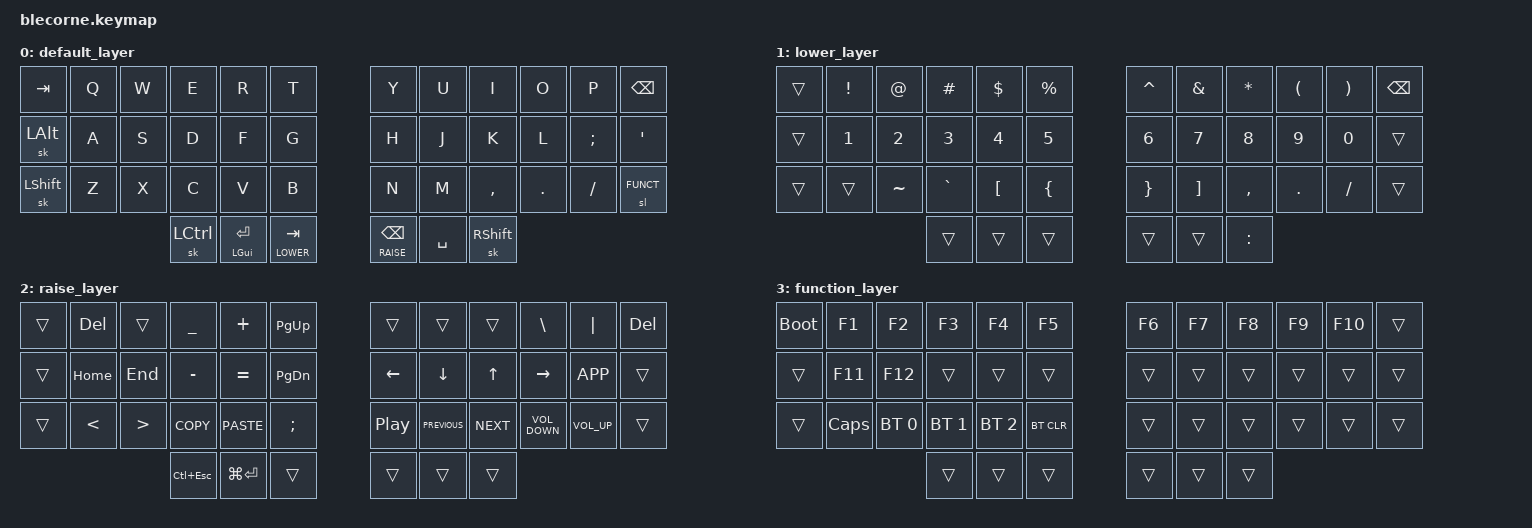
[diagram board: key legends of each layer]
/*
 * Copyright (c) 2020 The ZMK Contributors
 * SPDX-License-Identifier: MIT
 */

#include <behaviors.dtsi>
#include <dt-bindings/zmk/keys.h>
#include <dt-bindings/zmk/bt.h>

#define DEFAULT 0
#define LOWER   1
#define RAISE   2
#define FUNCT   3

/ {
    combos {
        compatible = "zmk,combos";
        combo_jk_esc {
            timeout-ms = <50>;
            key-positions = <19 20>;
            bindings = <&kp ESC>;
        };
    };
};

/ {
    behaviors {
        ft: fast_layer_tap {
            compatible = "zmk,behavior-hold-tap";
            #binding-cells = <2>;
            flavor = "hold-preferred";
            tapping-term-ms = <200>;
            bindings = <&mo>, <&kp>;
            display-name = "Fast Layer-Tap";
        };
    };
};

/ {
    chosen {
        zmk,physical-layout = &foostan_corne_6col_layout;
        // zmk,physical-layout = &foostan_corne_5col_layout;
    };
};

/ {
    keymap {
        compatible = "zmk,keymap";

        default_layer {
            bindings = <
                &kp TAB     &kp Q   &kp W   &kp E       &kp R           &kp T           &kp Y           &kp U       &kp I       &kp O   &kp P       &kp BSPC
                &sk LALT    &kp A   &kp S   &kp D       &kp F           &kp G           &kp H           &kp J       &kp K       &kp L   &kp SEMI    &kp SQT
                &sk LSHFT   &kp Z   &kp X   &kp C       &kp V           &kp B           &kp N           &kp M       &kp COMMA   &kp DOT &kp FSLH    &sl FUNCT
                                            &sk LCTRL   &mt LGUI ENTER  &ft LOWER TAB   &ft RAISE BSPC  &kp SPACE   &sk RSHFT
            >;
        };

        lower_layer {
            bindings = <
                &trans      &kp EXCL    &kp AT      &kp POUND   &kp DLLR    &kp PRCNT   &kp CARET   &kp AMPS    &kp STAR    &kp LPAR   &kp RPAR     &kp BSPC
                &trans      &kp N1      &kp N2      &kp N3      &kp N4      &kp N5      &kp N6      &kp N7      &kp N8      &kp N9     &kp N0       &trans
                &trans      &trans      &kp TILDE   &kp GRAVE   &kp LBKT    &kp LBRC    &kp RBRC    &kp RBKT    &kp COMMA   &kp DOT    &kp FSLH     &trans
                                                    &trans      &trans      &trans      &trans      &trans      &kp COLON
            >;
        };

        raise_layer {
            bindings = <
                &trans      &kp DEL     &trans      &kp UNDER   &kp PLUS    &kp PG_UP   &trans      &trans      &trans      &kp BSLH    &kp PIPE    &kp DEL
                &trans      &kp HOME    &kp END     &kp MINUS   &kp EQUAL   &kp PG_DN   &kp LEFT    &kp DOWN    &kp UP      &kp RIGHT   &kp K_APP   &trans
                &trans      &kp LT      &kp GT      &kp K_COPY  &kp K_PASTE &kp SEMI    &kp C_PLAY_PAUSE &kp C_PREVIOUS  &kp C_NEXT  &kp C_VOLUME_DOWN &kp C_VOLUME_UP &trans
                                                    &kp LC(ESC) &kp LG(RET) &trans      &trans      &trans      &trans
            >;
        };

        function_layer {
            bindings = <
                &bootloader &kp F1      &kp F2          &kp F3          &kp F4          &kp F5      &kp F6      &kp F7      &kp F8      &kp F9      &kp F10     &trans
                &trans      &kp F11     &kp F12         &trans          &trans          &trans      &trans      &trans      &trans      &trans      &trans      &trans
                &trans      &kp CAPS    &bt BT_SEL 0    &bt BT_SEL 1    &bt BT_SEL 2    &bt BT_CLR  &trans      &trans      &trans      &trans      &trans      &trans
                                                        &trans          &trans          &trans      &trans      &trans      &trans
            >;
        };
    };
};
